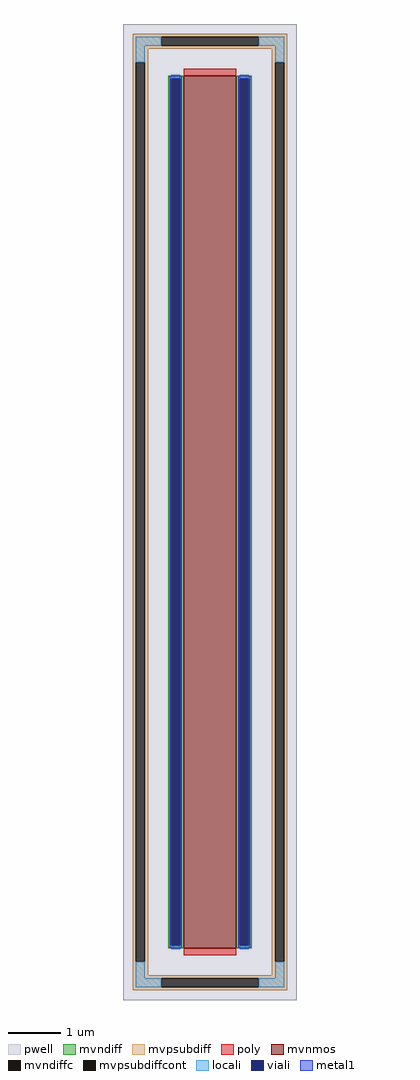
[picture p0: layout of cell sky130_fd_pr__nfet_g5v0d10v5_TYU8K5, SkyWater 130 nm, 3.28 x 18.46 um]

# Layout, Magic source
magic
tech sky130A
<< pwell >>
rect -164 -923 164 923
<< mvnmos >>
rect -50 -825 50 825
<< mvndiff >>
rect -79 819 -50 825
rect -79 -819 -73 819
rect -56 -819 -50 819
rect -79 -825 -50 -819
rect 50 819 79 825
rect 50 -819 56 819
rect 73 -819 79 819
rect 50 -825 79 -819
<< mvndiffc >>
rect -73 -819 -56 819
rect 56 -819 73 819
<< mvpsubdiff >>
rect -146 899 146 905
rect -146 882 -92 899
rect 92 882 146 899
rect -146 876 146 882
rect -146 851 -117 876
rect -146 -851 -140 851
rect -123 -851 -117 851
rect 117 851 146 876
rect -146 -876 -117 -851
rect 117 -851 123 851
rect 140 -851 146 851
rect 117 -876 146 -851
rect -146 -882 146 -876
rect -146 -899 -92 -882
rect 92 -899 146 -882
rect -146 -905 146 -899
<< mvpsubdiffcont >>
rect -92 882 92 899
rect -140 -851 -123 851
rect 123 -851 140 851
rect -92 -899 92 -882
<< poly >>
rect -50 825 50 838
rect -50 -838 50 -825
<< locali >>
rect -140 882 -92 899
rect 92 882 140 899
rect -140 851 -123 882
rect 123 851 140 882
rect -73 819 -56 827
rect -73 -827 -56 -819
rect 56 819 73 827
rect 56 -827 73 -819
rect -140 -882 -123 -851
rect 123 -882 140 -851
rect -140 -899 -92 -882
rect 92 -899 140 -882
<< viali >>
rect -73 -819 -56 819
rect 56 -819 73 819
<< metal1 >>
rect -76 819 -53 825
rect -76 -819 -73 819
rect -56 -819 -53 819
rect -76 -825 -53 -819
rect 53 819 76 825
rect 53 -819 56 819
rect 73 -819 76 819
rect 53 -825 76 -819
<< properties >>
string FIXED_BBOX -131 -890 131 890
string gencell sky130_fd_pr__nfet_g5v0d10v5
string library sky130
string parameters w 16.5 l 1.0 m 1 nf 1 diffcov 100 polycov 100 guard 1 glc 1 grc 1 gtc 1 gbc 1 tbcov 100 rlcov 100 topc 0 botc 0 poverlap 0 doverlap 1 lmin 0.50 wmin 0.42 compatible {sky130_fd_pr__nfet_01v8 sky130_fd_pr__nfet_01v8_lvt  sky130_fd_bs_flash__special_sonosfet_star  sky130_fd_pr__nfet_g5v0d10v5 sky130_fd_pr__nfet_05v0_nvt  sky130_fd_pr__nfet_03v3_nvt} full_metal 1 viasrc 100 viadrn 100 viagate 100 viagb 0 viagr 0 viagl 0 viagt 0
<< end >>
